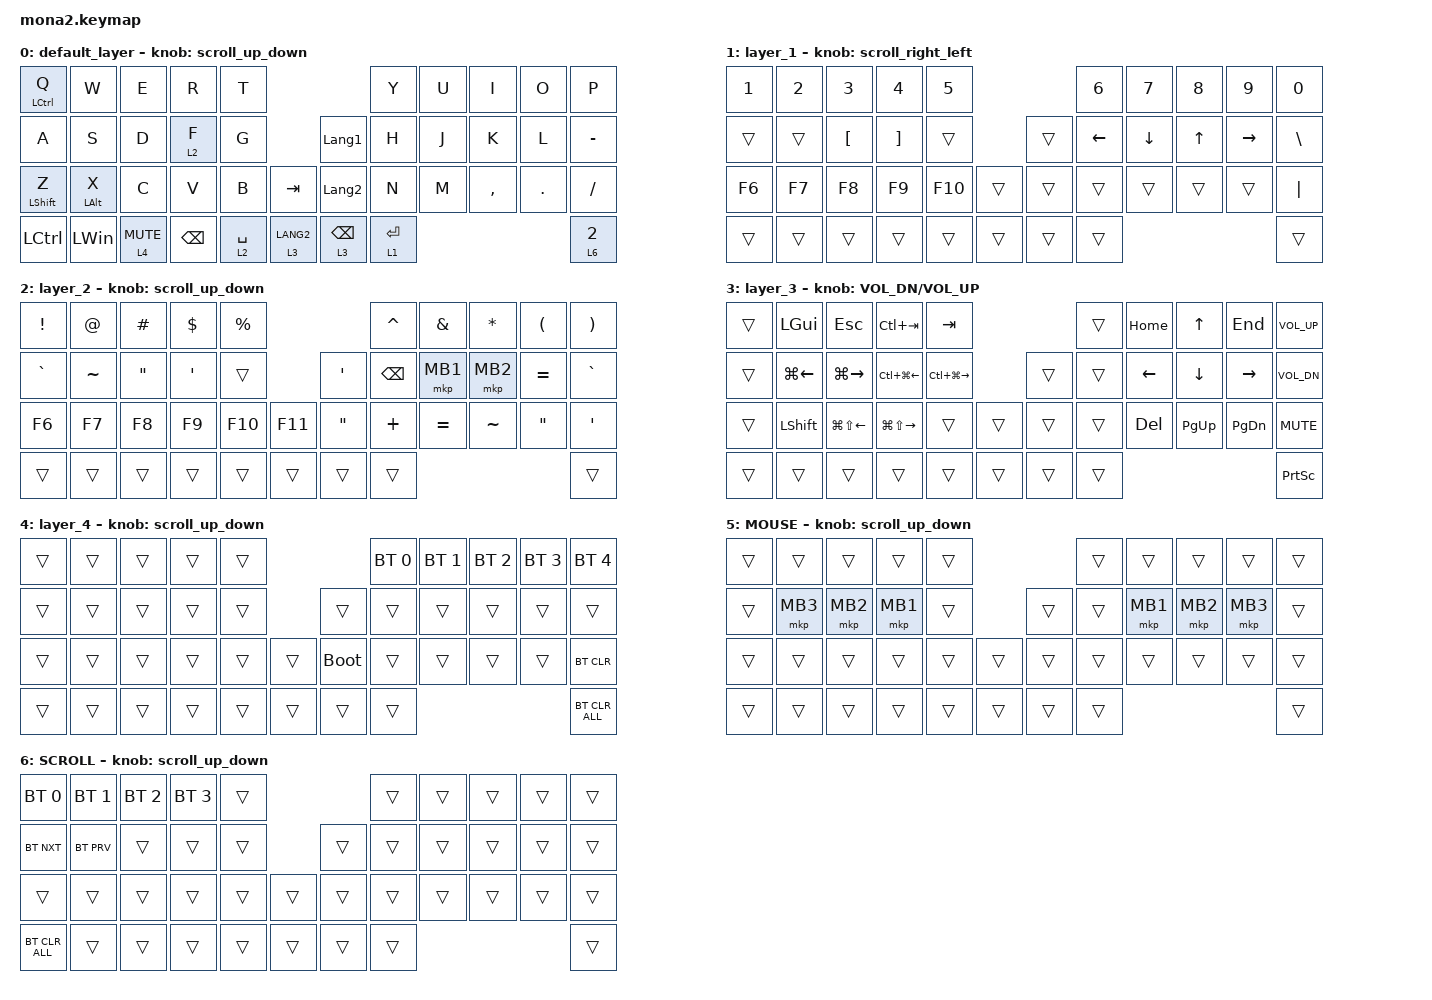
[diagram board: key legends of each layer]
#include <input/processors.dtsi>
#include <dt-bindings/zmk/input_transform.h>
#include <zephyr/dt-bindings/input/input-event-codes.h>
#include <behaviors.dtsi>
#include <dt-bindings/zmk/bt.h>
#include <dt-bindings/zmk/keys.h>
#include <dt-bindings/zmk/pointing.h>

#define ZMK_POINTING_DEFAULT_SCRL_VAL 100
#define MOUSE 5
#define SCROLL 6

&mt {
    flavor = "balanced";
    quick-tap-ms = <0>;
};

&lt {
    quick-tap-ms = <300>;
    flavor = "balanced";
};

/ {
    combos {
        compatible = "zmk,combos";

        layer4_ESC {
            bindings = <&lt 4 ESC>;
            key-positions = <39 38>;
        };

        tab {
            bindings = <&kp TAB>;
            key-positions = <11 12>;
        };
    };

    macros {
        to_layer_0: to_layer_0 {
            compatible = "zmk,behavior-macro-one-param";
            #binding-cells = <1>;
            bindings = <&to 0 &macro_param_1to1 &kp MACRO_PLACEHOLDER>;
            label = "TO_LAYER_0";
        };
    };

    behaviors {
        lt_to_layer_0: lt_to_layer_0 {
            compatible = "zmk,behavior-hold-tap";
            label = "LAYER_TAP_TO_0";
            bindings = <&mo>, <&to_layer_0>;

            #binding-cells = <2>;
            tapping-term-ms = <200>;
        };

        scroll_up_down: mouse_wheel_up_down {
            compatible = "zmk,behavior-sensor-rotate";
            #sensor-binding-cells = <0>;
            bindings = <&msc SCRL_DOWN>, <&msc SCRL_UP>;

            tap-ms = <20>;
        };

        scroll_right_left: mouse_wheel_right_left {
            compatible = "zmk,behavior-sensor-rotate";
            #sensor-binding-cells = <0>;
            bindings = <&msc SCRL_LEFT>, <&msc SCRL_RIGHT>;

            tap-ms = <20>;
        };
    };

    keymap {
        compatible = "zmk,keymap";

        default_layer {
            bindings = <
&mt LCTRL Q       &kp W           &kp E         &kp R          &kp T                                                              &kp Y        &kp U  &kp I      &kp O    &kp P
&kp A             &kp S           &kp D         &lt 2 F        &kp G                                  &kp LANGUAGE_1              &kp H        &kp J  &kp K      &kp L    &kp MINUS
&mt LEFT_SHIFT Z  &mt LEFT_ALT X  &kp C         &kp V          &kp B        &kp TAB                   &kp LANGUAGE_2              &kp N        &kp M  &kp COMMA  &kp DOT  &kp SLASH
&kp LCTRL         &kp LEFT_WIN    &lt 4 K_MUTE  &kp BACKSPACE  &lt 2 SPACE  &lt_to_layer_0 3 LANG2    &lt_to_layer_0 3 BACKSPACE  &lt 1 ENTER                             &lt 6 NUMBER_2
            >;

            sensor-bindings = <&scroll_up_down>;
        };

        layer_1 {
            bindings = <
&kp NUMBER_1  &kp NUMBER_2  &kp NUMBER_3      &kp NUMBER_4       &kp NUMBER_5                    &kp NUMBER_6    &kp NUMBER_7    &kp NUMBER_8  &kp NUMBER_9     &kp NUMBER_0
&trans        &trans        &kp LEFT_BRACKET  &kp RIGHT_BRACKET  &trans                  &trans  &kp LEFT_ARROW  &kp DOWN_ARROW  &kp UP_ARROW  &kp RIGHT_ARROW  &kp BACKSLASH
&kp F6        &kp F7        &kp F8            &kp F9             &kp F10       &trans    &trans  &trans          &trans          &trans        &trans           &kp PIPE
&trans        &trans        &trans            &trans             &trans        &trans    &trans  &trans                                                         &trans
            >;

            sensor-bindings = <&scroll_right_left>;
        };

        layer_2 {
            bindings = <
&kp EXCLAMATION  &kp AT_SIGN  &kp POUND          &kp DOLLAR  &kp PERCENT                                &kp CARET      &kp AMPERSAND  &kp ASTERISK  &kp LEFT_PARENTHESIS  &kp RIGHT_PARENTHESIS
&kp GRAVE        &kp TILDE    &kp DOUBLE_QUOTES  &kp SQT     &trans                  &kp SINGLE_QUOTE   &kp BACKSPACE  &mkp MB1       &mkp MB2      &kp EQUAL             &kp GRAVE
&kp F6           &kp F7       &kp F8             &kp F9      &kp F10      &kp F11    &kp DOUBLE_QUOTES  &kp PLUS       &kp EQUAL      &kp TILDE     &kp DOUBLE_QUOTES     &kp SINGLE_QUOTE
&trans           &trans       &trans             &trans      &trans       &trans     &trans             &trans                                                            &trans
            >;

            sensor-bindings = <&scroll_up_down>;
        };

        layer_3 {
            bindings = <
&trans  &kp LEFT_GUI        &kp ESCAPE              &kp LC(TAB)              &kp TAB                                    &trans  &kp HOME        &kp UP_ARROW    &kp END          &kp C_VOL_UP
&trans  &kp LG(LEFT_ARROW)  &kp LG(RIGHT_ARROW)     &kp LC(LG(LEFT_ARROW))   &kp LC(LG(RIGHT_ARROW))            &trans  &trans  &kp LEFT_ARROW  &kp DOWN_ARROW  &kp RIGHT_ARROW  &kp C_VOL_DN
&trans  &kp LEFT_SHIFT      &kp LG(LS(LEFT_ARROW))  &kp LG(LS(RIGHT_ARROW))  &trans                   &trans    &trans  &trans  &kp DELETE      &kp PAGE_UP     &kp PAGE_DOWN    &kp K_MUTE
&trans  &trans              &trans                  &trans                   &trans                   &trans    &trans  &trans                                                   &kp PRINTSCREEN
            >;

            sensor-bindings = <&inc_dec_kp C_VOL_DN C_VOL_UP>;
        };

        layer_4 {
            bindings = <
&trans  &trans  &trans  &trans  &trans                         &bt BT_SEL 0  &bt BT_SEL 1  &bt BT_SEL 2  &bt BT_SEL 3  &bt BT_SEL 4
&trans  &trans  &trans  &trans  &trans            &trans       &trans        &trans        &trans        &trans        &trans
&trans  &trans  &trans  &trans  &trans  &trans    &bootloader  &trans        &trans        &trans        &trans        &bt BT_CLR
&trans  &trans  &trans  &trans  &trans  &trans    &trans       &trans                                                  &bt BT_CLR_ALL
            >;

            sensor-bindings = <&scroll_up_down>;
        };

        MOUSE {
            bindings = <
&trans  &trans    &trans    &trans    &trans                    &trans  &trans    &trans    &trans    &trans
&trans  &mkp MB3  &mkp MB2  &mkp MB1  &trans            &trans  &trans  &mkp MB1  &mkp MB2  &mkp MB3  &trans
&trans  &trans    &trans    &trans    &trans  &trans    &trans  &trans  &trans    &trans    &trans    &trans
&trans  &trans    &trans    &trans    &trans  &trans    &trans  &trans                                &trans
            >;

            sensor-bindings = <&scroll_up_down>;
        };

        SCROLL {
            bindings = <
&bt BT_SEL 0    &bt BT_SEL 1  &bt BT_SEL 2  &bt BT_SEL 3  &trans                    &trans  &trans  &trans  &trans  &trans
&bt BT_NXT      &bt BT_PRV    &trans        &trans        &trans            &trans  &trans  &trans  &trans  &trans  &trans
&trans          &trans        &trans        &trans        &trans  &trans    &trans  &trans  &trans  &trans  &trans  &trans
&bt BT_CLR_ALL  &trans        &trans        &trans        &trans  &trans    &trans  &trans                          &trans
            >;

            sensor-bindings = <&scroll_up_down>;
        };
    };
};
